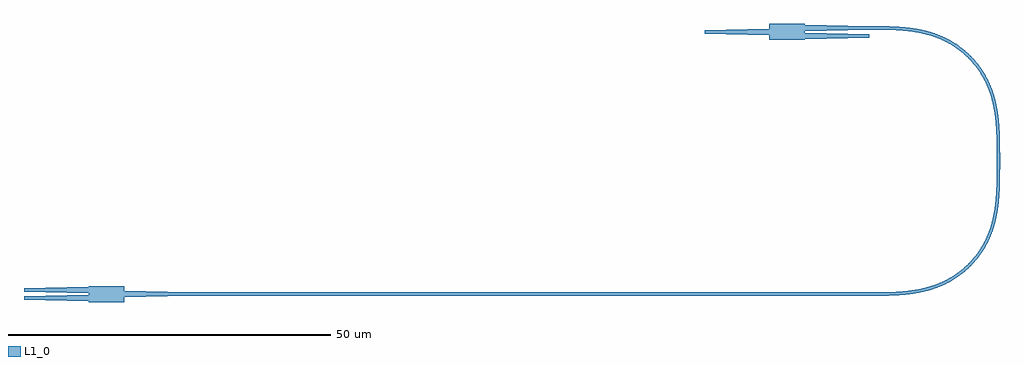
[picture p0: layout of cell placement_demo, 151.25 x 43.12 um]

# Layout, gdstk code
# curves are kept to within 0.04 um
from math import pi, radians
import gdstk
lib = gdstk.Library(unit=1e-6, precision=1e-09)
def R(c, l, rs):  # rectangles x0, y0, x1, y1
    for r in rs: c.add(gdstk.rectangle(r[:2], r[2:], *l))
def P(c, l, *ps):  # polygons
    for p in ps: c.add(gdstk.Polygon(p, *l))
L1_0 = (1, 0)

mmi1x2_gdsfactorypcompon = lib.new_cell('mmi1x2_gdsfactorypcomponentspmmispmmi1x2_WNone_WT1_LT10_1f097353')
P(mmi1x2_gdsfactorypcompon, L1_0, [(0,-1.25),(0,-0.5),(-10,-0.25),(-10,0.25),(0,0.5),(0,1.25),(5.5,1.25),(5.5,1.125),(15.5,0.875),(15.5,0.375),(5.5,0.125),(5.5,-0.125),(15.5,-0.375),(15.5,-0.875),(5.5,-1.125),(5.5,-1.25)])

bend_euler_gdsfactorypco = lib.new_cell('bend_euler_gdsfactorypcomponentspbendspbend_euler_R20_A_f8b99e6c')
P(bend_euler_gdsfactorypco, L1_0, [(0,-0.25),(0,0.25),(3.237,0.286),(5.516,0.43),(7.635,0.732),(9.702,1.255),(11.313,1.88),(12.72,2.627),(14.032,3.532),(15.232,4.58),(16.386,5.864),(17.373,7.28),(18.12,8.687),(18.745,10.298),(19.268,12.365),(19.57,14.484),(19.714,16.763),(19.75,20),(20.25,20),(20.209,16.61),(20.054,14.299),(19.785,12.405),(19.342,10.539),(18.742,8.856),(17.941,7.257),(16.947,5.77),(15.68,4.32),(14.23,3.053),(12.743,2.059),(11.144,1.258),(9.461,0.658),(7.595,0.215),(5.701,-0.054),(3.39,-0.209)])

straight_gdsfactorypcomp = lib.new_cell('straight_gdsfactorypcomponentspwaveguidespstraight_L1p2_b215014a')
R(straight_gdsfactorypcomp, L1_0, [(0,-0.25,1.25,0.25)])

c_straight_gdsfactorypcomp = lib.new_cell('straight_gdsfactorypcomponentspwaveguidespstraight_L105_16d3d6a9')
R(c_straight_gdsfactorypcomp, L1_0, [(0,-0.25,105.5,0.25)])

placement_demo = lib.new_cell('placement_demo')
placement_demo.add(gdstk.Reference(mmi1x2_gdsfactorypcompon, (0,0)))
placement_demo.add(gdstk.Reference(mmi1x2_gdsfactorypcompon, (-100,-40.625), rotation=pi))
placement_demo.add(gdstk.Reference(bend_euler_gdsfactorypco, (35.5,-19.375), rotation=pi/2))
placement_demo.add(gdstk.Reference(bend_euler_gdsfactorypco, (15.5,-40.625)))
placement_demo.add(gdstk.Reference(straight_gdsfactorypcomp, (35.5,-19.375), rotation=3*pi/2))
placement_demo.add(gdstk.Reference(c_straight_gdsfactorypcomp, (15.5,-40.625), rotation=pi))

lib.write_gds('placement_demo.gds')
